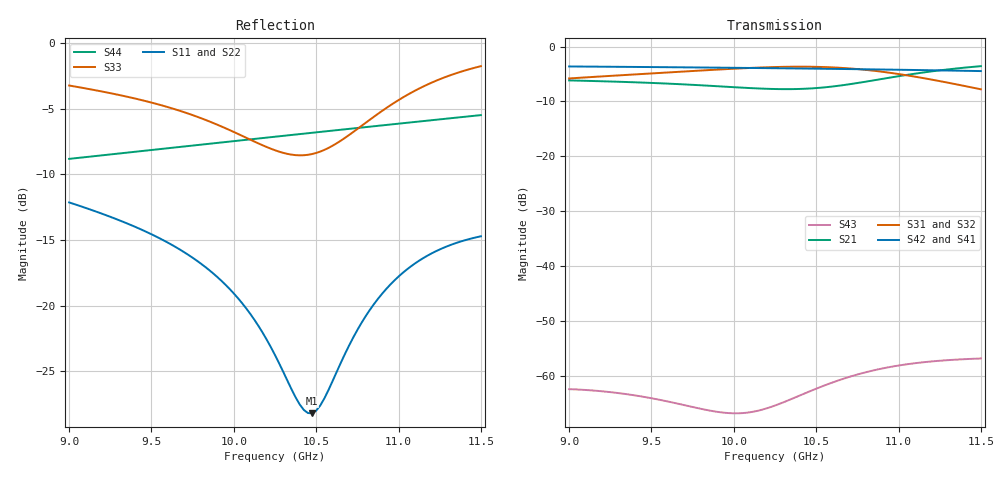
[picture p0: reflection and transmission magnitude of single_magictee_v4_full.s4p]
! Generated from PyAEDT SolutionData; AEDT ExportNetworkData workaround
# GHz S MA R 50
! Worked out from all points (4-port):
!   101 points, 9 GHz to 11.5 GHz, reference 50 ohm
!   strongest paths, dB at 9 GHz, 9.625 GHz, 10.25 GHz, 10.88 GHz, 11.5 GHz:
!     S42: -3.6, -3.8, -3.9, -4.2, -4.5
!     S41: -3.6, -3.8, -4.0, -4.2, -4.4
!     S31: -5.8, -4.7, -3.7, -4.5, -7.8
!     S32: -5.8, -4.7, -3.7, -4.5, -7.8
!     S21: -6.2, -6.8, -7.7, -6.0, -3.6
!     S43: -62.5, -64.9, -65.5, -58.9, -56.9
!   lowest |S11| = -28.2 dB at 10.47 GHz (marker M1), VSWR 1.08, Z = 46.8 - j1.89 ohm
!   |S11| at or under -10 dB: start of sweep to end of sweep
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9  0.2471 133.6  0.4921 178.6  0.5127 -99.9  0.6587 45.6
   0.4921 178.6  0.2462 133.8  0.512 -99.8  0.6596 -134.3
   0.5127 -99.9  0.512 -99.8  0.6892 176.3  0.0007507 84.4
   0.6587 45.6  0.6596 -134.3  0.0007507 84.4  0.3621 -116.1
9.325  0.2088 92.1  0.4771 142.8  0.5496 -158.9  0.6533 8.4
       0.4771 142.8  0.2076 92.2  0.5487 -158.9  0.6544 -171.5
       0.5496 -158.9  0.5487 -158.9  0.6299 94.2  0.0006832 19.0
       0.6533 8.4  0.6544 -171.5  0.0006832 19.0  0.3808 -151.0
9.65  0.1666 48.6  0.4563 108.8  0.5875 142.5  0.6472 -27.7
      0.4563 108.8  0.1654 48.5  0.5864 142.4  0.6485 152.3
      0.5875 142.5  0.5864 142.4  0.5577 11.1  0.0005576 -39.1
      0.6472 -27.7  0.6485 152.3  0.0005576 -39.1  0.4006 174.8
10.025  0.1067 -9.4  0.4248 73.1  0.6318 73.8  0.6395 -68.3
        0.4248 73.1  0.1063 -9.8  0.6305 73.8  0.6409 111.7
        0.6318 73.8  0.6305 73.8  0.4508 -92.1  0.0004519 -84.9
        0.6395 -68.3  0.6409 111.7  0.0004519 -84.9  0.4247 135.8
10.475  0.03885 -148.6  0.4164 39.1  0.6554 -12.2  0.6289 -115.9
        0.4164 39.1  0.03921 -147.6  0.6541 -12.2  0.6303 64.1
        0.6554 -12.2  0.6541 -12.2  0.3777 115.8  0.0007315 -139.0
        0.6289 -115.9  0.6303 64.1  0.0007315 -139.0  0.4552 89.8
10.9  0.1109 78.3  0.5077 5.8  0.5904 -95.2  0.6176 -159.9
      0.5077 5.8  0.1096 77.9  0.5895 -95.2  0.6187 19.9
      0.5904 -95.2  0.5895 -95.2  0.5513 -27.2  0.001158 135.8
      0.6176 -159.9  0.6187 19.9  0.001158 135.8  0.4857 46.6
11.5  0.1836 -17.5  0.6637 -56.5  0.4082 156.1  0.5993 138.7
      0.6637 -56.5  0.1859 -18.7  0.4081 156.0  0.5986 -41.6
      0.4082 156.1  0.4081 156.0  0.8166 -179.4  0.00143 5.2
      0.5993 138.7  0.5986 -41.6  0.00143 5.2  0.5315 -13.9
